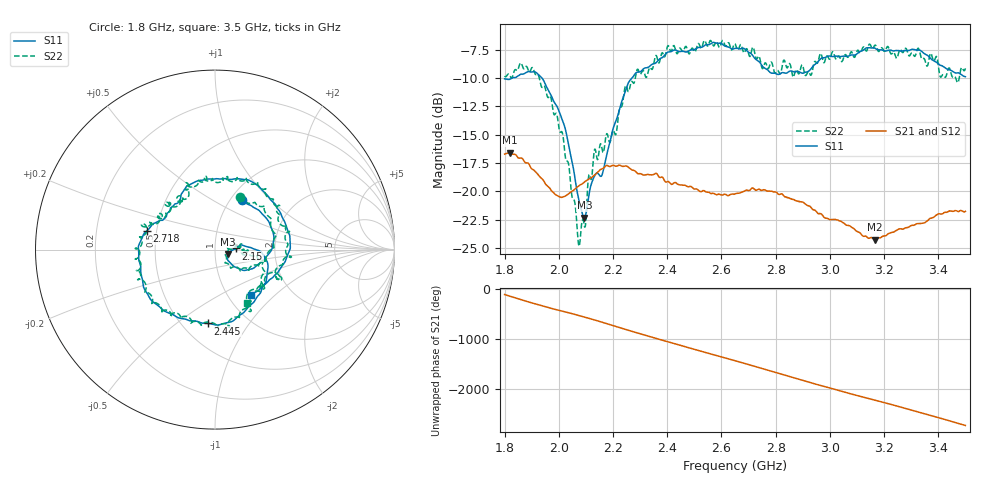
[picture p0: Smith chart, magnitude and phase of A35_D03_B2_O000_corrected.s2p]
! Created with skrf 1.9.0 (http://scikit-rf.org).
# Hz S RI R 50.0
!freq ReS11 ImS11 ReS21 ImS21 ReS12 ImS12 ReS22 ImS22
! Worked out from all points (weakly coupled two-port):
!   1601 points, 1.8 GHz to 3.5 GHz, reference 50 ohm
!   highest |S21| = -16.59 dB at 1.819 GHz (marker M1); lowest = -24.2 dB at 3.165 GHz (marker M2)
!   lowest |S11| = -22.3 dB at 2.094 GHz (marker M3), VSWR 1.17, Z = 57.8 - j2.77 ohm
!   |S11| at or under -10 dB: start of sweep to 1.828 GHz; 1.938 GHz to 2.27 GHz (332.6 MHz wide, 15.8 % of centre)
!   |S22| runs from -24.8 to -6.7 dB; largest |S21 - S12| = 0.0025
!   S11 on the Smith chart (normalised r, x): 1.8 GHz: 1.13, +0.69; 2.15 GHz: 1.27, +0.02; 2.445 GHz: 0.66, -0.66; 2.718 GHz: 0.44, +0.11; 3.5 GHz: 1.27, -0.71
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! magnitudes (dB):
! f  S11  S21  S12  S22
! 1.8 GHz  -10.1  -16.7  -16.7  -9.8
! 1.819 GHz  -10.1  -16.6  -16.6  -9.8
! 1.903 GHz  -9.5  -18.1  -18.0  -9.1
! 1.968 GHz  -11.4  -19.8  -19.8  -11.6
! 2.023 GHz  -14.4  -20.4  -20.4  -16.8
! 2.072 GHz  -20.5  -19.5  -19.6  -24.6
! 2.084 GHz  -21.7  -19.4  -19.3  -23.0
! 2.094 GHz  -22.3  -19.2  -19.2  -23.0
! 2.112 GHz  -20.2  -18.9  -18.9  -18.5
! 2.15 GHz  -18.6  -18.2  -18.2  -16.2
! 2.209 GHz  -13.9  -17.8  -17.7  -15.0
! 2.258 GHz  -10.4  -17.9  -17.9  -11.2
! 2.367 GHz  -8.4  -18.6  -18.6  -8.6
! 2.445 GHz  -7.7  -19.4  -19.4  -7.4
! 2.65 GHz  -7.4  -20.2  -20.2  -7.0
! 2.718 GHz  -8.1  -19.7  -19.7  -7.3
! 2.802 GHz  -9.6  -20.1  -20.1  -9.5
! 2.934 GHz  -9.1  -21.5  -21.5  -9.6
! 3.165 GHz  -7.4  -24.2  -24.2  -7.1
! 3.217 GHz  -7.5  -23.7  -23.7  -7.4
! 3.468 GHz  -9.5  -21.7  -21.7  -10.3
! 3.5 GHz  -9.9  -21.8  -21.7  -9.1
